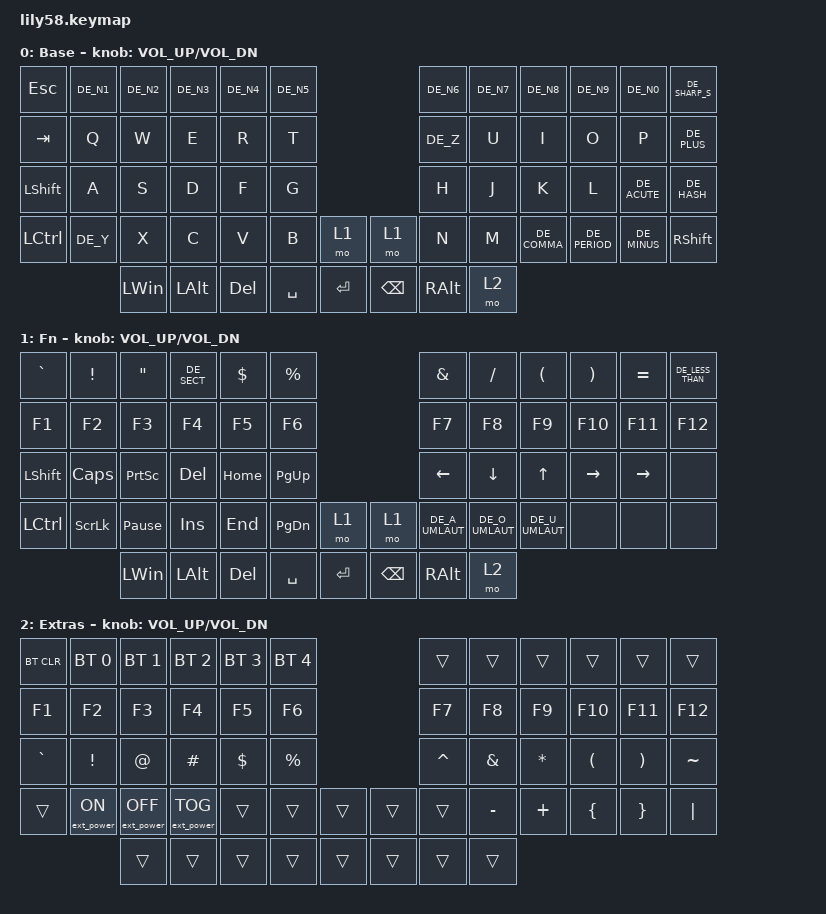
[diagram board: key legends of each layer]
/*
 * Copyright (c) 2020 The ZMK Contributors
 *
 * SPDX-License-Identifier: MIT
 */

#include <behaviors.dtsi>
#include <dt-bindings/zmk/bt.h>
#include <dt-bindings/zmk/ext_power.h>
#include <dt-bindings/zmk/keys.h>
#include <dt-bindings/zmk/keys.h>
#include <locale/keys_de.h>


/ {
    keymap {
        compatible = "zmk,keymap";

        base_layer {
            // ------------------------------------------------------------------------------------------------------------
            // |  ESC  |  1  |  2  |  3   |  4   |  5   |                   |  6   |  7    |  8    |  9   |   0   |   ß   |
            // |  TAB  |  Q  |  W  |  E   |  R   |  T   |                   |  Y   |  U    |  I    |  O   |   P   |   +   |
            // |  CTRL |  A  |  S  |  D   |  F   |  G   |                   |  H   |  J    |  K    |  L   |   ´   |   #   |
            // | SHIFT |  Z  |  X  |  C   |  V   |  B   |  MO(1) |  | MO(1) |  N   |  M    |  ,    |  .   |   -   | SHIFT |
            //                     | LGUI | LALT | DEL  |  SPACE |  | ENTER | BSPC | RALT  | MO(2)   |

            display-name = "Base";

            bindings = <
&kp ESC           &kp DE_N1     &kp DE_N2   &kp DE_N3     &kp DE_N4     &kp DE_N5                         &kp DE_N6      &kp DE_N7      &kp DE_N8       &kp DE_N9       &kp DE_N0               &kp DE_SHARP_S
&kp TAB           &kp Q         &kp W       &kp E         &kp R         &kp T                             &kp DE_Z       &kp U          &kp I           &kp O           &kp P                   &kp DE_PLUS
&kp LEFT_SHIFT    &kp A         &kp S       &kp D         &kp F         &kp G                             &kp H          &kp J          &kp K           &kp L           &kp DE_ACUTE            &kp DE_HASH
&kp LEFT_CONTROL  &kp DE_Y      &kp X       &kp C         &kp V         &kp B       &mo 1        &mo 1    &kp N          &kp M          &kp DE_COMMA    &kp DE_PERIOD   &kp DE_MINUS            &kp RIGHT_SHIFT
                                  &kp LEFT_WIN  &kp LEFT_ALT  &kp DELETE  &kp SPACE    &kp RET  &kp BACKSPACE  &kp RIGHT_ALT  &mo 2
            >;

            sensor-bindings = <&inc_dec_kp C_VOL_UP C_VOL_DN>;
        };

        fn_layer {
            // ------------------------------------------------------------------------------------------------------------
            // |   ^   |  !  |  "  |  §   |  $   |  %   |                   |  &   |   /   |   (   |  )   |   =   |  <>   |
            // |   F1  |  F2 |  F3 |  F4  |  F5  |  F6  |                   |  F7  |   F8  |   F9  |  F10 |  F11  |  F12  |
            // | SHIFT | CAPS|PRSCN| DEL  | HOME | PUP  |                   |      |   <-  |   v   |  ^   |  ->   |       |
            // | CTRL  |SCLCK|PAUSE| INS  |  END | PDOWN|  MO(1) |  | MO(2) |  Ä   |   Ö   |   Ü   |      |       |       |
            //                     |      |      |      |        |  |       |      |       |       |

            display-name = "Fn";

            bindings = <
&kp GRAVE           &kp EXCLAMATION     &kp DOUBLE_QUOTES   &kp DE_SECT     &kp DOLLAR      &kp PERCENT                                   &kp AMPERSAND   &kp SLASH             &kp LEFT_PARENTHESIS    &kp RIGHT_PARENTHESIS   &kp EQUAL   &kp DE_LESS_THAN
&kp F1              &kp F2              &kp F3              &kp F4          &kp F5          &kp F6                                        &kp F7          &kp F8                &kp F9                  &kp F10                 &kp F11     &kp F12
&kp LEFT_SHIFT      &kp CAPS            &kp PSCRN           &kp DELETE      &kp HOME        &kp PAGE_UP                                   &kp LEFT        &kp DOWN              &kp UP                  &kp RIGHT               &kp RIGHT   &none
&kp LEFT_CONTROL    &kp SLCK            &kp PAUSE_BREAK     &kp INSERT      &kp END         &kp PAGE_DOWN       &mo 1           &mo 1     &kp DE_A_UMLAUT &kp DE_O_UMLAUT       &kp DE_U_UMLAUT         &none                   &none       &none
                                  &kp LEFT_WIN  &kp LEFT_ALT  &kp DELETE  &kp SPACE    &kp RET  &kp BACKSPACE  &kp RIGHT_ALT  &mo 2
            >;

            sensor-bindings = <&inc_dec_kp C_VOL_UP C_VOL_DN>;
        };

        extras_layer {
            // ------------------------------------------------------------------------------------------------------------
            // | BTCLR | BT1 | BT2 |  BT3 |  BT4 |  BT5 |                   |      |       |       |      |       |       |
            // |  F1   |  F2 |  F3 |  F4  |  F5  |  F6  |                   |  F7  |  F8   |  F9   |  F10 |  F11  |  F12  |
            // |   `   |  !  |  @  |  #   |  $   |  %   |                   |  ^   |  &    |  *    |  (   |   )   |   ~   |
            // |       |     |     |      |      |      |        |  |       |      |  _    |  +    |  {   |   }   |  "|"  |
            //                     |      |      |      |        |  |       |      |       |       |

            display-name = "Extras";

            bindings = <
&bt BT_CLR  &bt BT_SEL 0      &bt BT_SEL 1       &bt BT_SEL 2       &bt BT_SEL 3  &bt BT_SEL 4                    &trans     &trans     &trans     &trans    &trans    &trans
&kp F1      &kp F2            &kp F3             &kp F4             &kp F5        &kp F6                          &kp F7     &kp F8     &kp F9     &kp F10   &kp F11   &kp F12
&kp GRAVE   &kp EXCL          &kp AT             &kp HASH           &kp DOLLAR    &kp PRCNT                       &kp CARET  &kp AMPS   &kp ASTRK  &kp LPAR  &kp RPAR  &kp TILDE
&trans      &ext_power EP_ON  &ext_power EP_OFF  &ext_power EP_TOG  &trans        &trans        &trans    &trans  &trans     &kp MINUS  &kp PLUS   &kp LBRC  &kp RBRC  &kp PIPE
                                                 &trans             &trans        &trans        &trans    &trans  &trans     &trans     &trans
            >;

            sensor-bindings = <&inc_dec_kp C_VOL_UP C_VOL_DN>;
        };

    };
};
